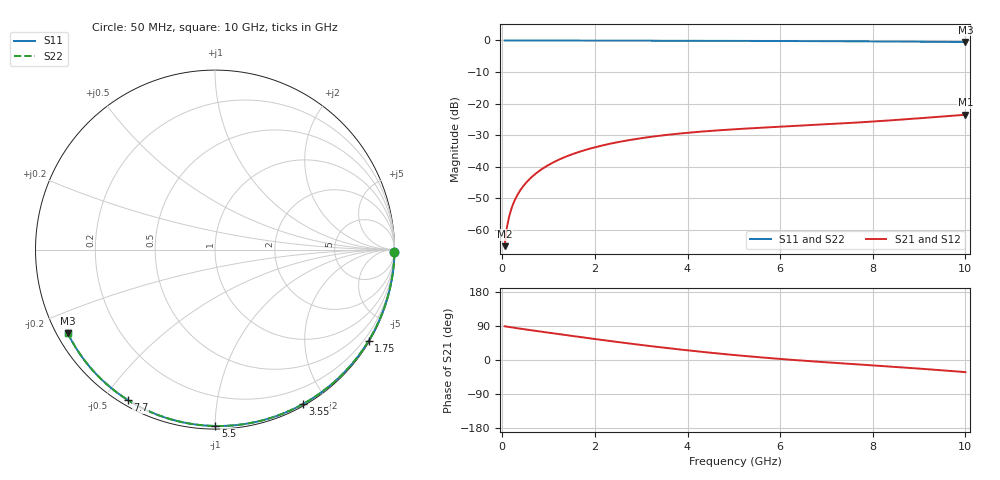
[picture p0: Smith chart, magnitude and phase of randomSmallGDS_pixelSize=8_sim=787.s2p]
! freq	dB(S11)	phase(S11)	dB(S12)	phase(S12)
!  dB(S21)	phase(S21)	dB(S22)	phase(S22)
!S-par simulation data
#  GHz  S  DB  R 50
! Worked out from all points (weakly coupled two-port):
!   200 points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, 50 MHz to 10 GHz, reference 50 ohm
!   highest |S21| = -23.54 dB at 10 GHz (marker M1); lowest = -65.2 dB at 50 MHz (marker M2)
!   lowest |S11| = -0.5 dB at 10 GHz (marker M3), VSWR 34.31, Z = 1.56 - j13.2 ohm
!   |S11| at or under -10 dB: nowhere
!   |S22| runs from -0.5 to 0.0 dB; largest |S21 - S12| = 0
!   S11 on the Smith chart (normalised r, x): 50 MHz: open; 1.75 GHz: 0.03, -3.65; 3.55 GHz: 0.02, -1.72; 5.5 GHz: 0.02, -1.00; 7.7 GHz: 0.02, -0.57; 10 GHz: 0.03, -0.26
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0.05  -0.00 -0.9  -65.22 89.0  -65.22 89.0  -0.00 -0.9
0.1  -0.00 -1.8  -59.20 88.0  -59.20 88.0  -0.00 -1.8
0.15  -0.00 -2.7  -55.69 87.1  -55.69 87.1  -0.00 -2.7
0.2  -0.00 -3.6  -53.20 86.1  -53.20 86.1  -0.00 -3.6
0.25  -0.00 -4.5  -51.28 85.2  -51.28 85.2  -0.00 -4.5
0.35  -0.00 -6.2  -48.39 83.4  -48.39 83.4  -0.00 -6.2
0.5  -0.01 -8.9  -45.33 80.7  -45.33 80.7  -0.01 -8.9
0.7  -0.01 -12.4  -42.47 77.3  -42.47 77.3  -0.01 -12.4
1  -0.02 -17.7  -39.46 72.1  -39.46 72.1  -0.02 -17.7
1.35  -0.03 -23.7  -36.98 66.2  -36.98 66.2  -0.03 -23.7
1.75  -0.04 -30.6  -34.90 59.5  -34.90 59.5  -0.04 -30.6
2.5  -0.06 -43.3  -32.23 47.3  -32.23 47.3  -0.06 -43.2
3.4  -0.08 -57.9  -30.20 33.8  -30.20 33.8  -0.08 -57.9
3.55  -0.08 -60.3  -29.94 31.7  -29.94 31.7  -0.08 -60.3
4.3  -0.11 -72.0  -28.89 21.6  -28.89 21.6  -0.11 -72.0
5.05  -0.13 -83.3  -28.12 12.7  -28.12 12.7  -0.13 -83.3
5.5  -0.15 -89.9  -27.74 7.8  -27.74 7.8  -0.15 -89.8
6.7  -0.21 -106.7  -26.82 -3.6  -26.82 -3.6  -0.21 -106.7
7.7  -0.28 -120.2  -25.99 -11.8  -25.99 -11.8  -0.28 -120.2
8.35  -0.33 -128.8  -25.36 -17.1  -25.36 -17.1  -0.33 -128.8
9.2  -0.41 -139.9  -24.46 -24.5  -24.46 -24.5  -0.41 -139.9
10  -0.51 -150.4  -23.54 -32.0  -23.54 -32.0  -0.51 -150.4
